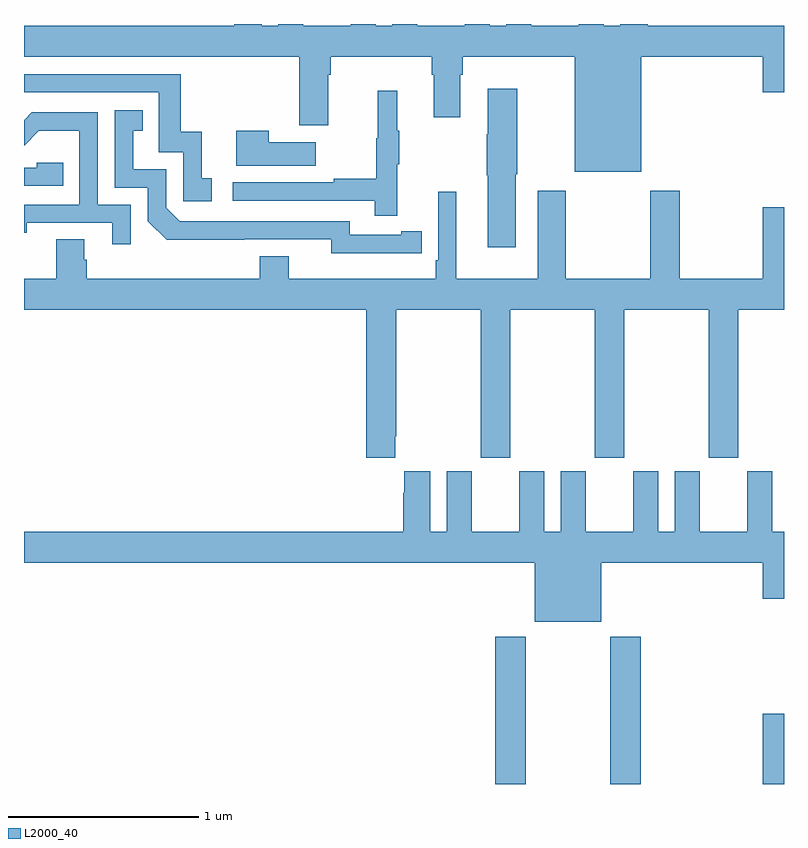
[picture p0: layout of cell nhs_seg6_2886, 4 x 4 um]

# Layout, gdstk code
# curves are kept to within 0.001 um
import gdstk
lib = gdstk.Library(unit=1e-6, precision=1e-09)
def R(c, l, rs):  # rectangles x0, y0, x1, y1
    for r in rs: c.add(gdstk.rectangle(r[:2], r[2:], *l))
def P(c, l, *ps):  # polygons
    for p in ps: c.add(gdstk.Polygon(p, *l))
L2000_40 = (2000, 40)

nhs_seg6_2886 = lib.new_cell('nhs_seg6_2886')
R(nhs_seg6_2886, L2000_40, [(283.481,951.5,283.641,952.276), (284.086,951.5,284.246,952.276), (284.888,951.5,285,951.871)])
P(nhs_seg6_2886, L2000_40, [(284.248,955.328),(284.888,955.328),(284.888,955.14),(285,955.14),(285,955.492),(284.282,955.492),(284.282,955.5),(284.138,955.5),(284.138,955.492),(284.05,955.492),(284.05,955.5),(283.919,955.5),(283.919,955.492),(283.669,955.492),(283.669,955.5),(283.538,955.5),(283.538,955.492),(283.45,955.492),(283.45,955.5),(283.319,955.5),(283.319,955.492),(283.069,955.492),(283.069,955.5),(282.938,955.5),(282.938,955.492),(282.85,955.492),(282.85,955.5),(282.719,955.5),(282.719,955.492),(282.469,955.492),(282.469,955.5),(282.338,955.5),(282.338,955.492),(282.25,955.492),(282.25,955.5),(282.107,955.5),(282.107,955.492),(281,955.492),(281,955.328),(282.449,955.328),(282.449,954.966),(282.601,954.966),(282.601,955.232),(282.614,955.232),(282.614,955.328),(283.145,955.328),(283.145,955.232),(283.157,955.232),(283.157,955.008),(283.297,955.008),(283.297,955.232),(283.31,955.232),(283.31,955.328),(283.898,955.328),(283.898,954.722),(284.248,954.722)],
  [(281.989,954.687),(281.936,954.687),(281.936,954.934),(281.825,954.934),(281.825,955.236),(281,955.236),(281,955.14),(281.709,955.14),(281.709,954.825),(281.838,954.825),(281.838,954.567),(281.989,954.567)],
  [(283.588,954.709),(283.596,954.709),(283.596,955.159),(283.442,955.159),(283.442,954.92),(283.435,954.92),(283.435,954.703),(283.442,954.703),(283.442,954.324),(283.588,954.324)],
  [(282.965,954.763),(282.976,954.763),(282.976,954.937),(282.965,954.937),(282.965,955.15),(282.862,955.15),(282.862,954.9),(282.855,954.9),(282.855,954.686),(282.631,954.686),(282.631,954.666),(282.099,954.666),(282.099,954.57),(282.847,954.57),(282.847,954.492),(282.965,954.492)],
  [(282.986,954.294),(283.094,954.294),(283.094,954.41),(282.986,954.41),(282.986,954.39),(282.714,954.39),(282.714,954.462),(281.82,954.462),(281.748,954.534),(281.748,954.735),(281.575,954.735),(281.575,954.939),(281.624,954.939),(281.624,955.045),(281.478,955.045),(281.478,954.639),(281.652,954.639),(281.652,954.462),(281.75,954.365),(282.618,954.366),(282.618,954.293)],
  [(281.562,954.549),(281.388,954.549),(281.388,955.035),(281.042,955.035),(281,954.993),(281,954.86),(281.078,954.938),(281.292,954.938),(281.292,954.549),(281,954.549),(281,954.402),(281.014,954.402),(281.014,954.453),(281.465,954.453),(281.465,954.342),(281.562,954.342)],
  [(282.535,954.877),(282.287,954.877),(282.287,954.937),(282.116,954.937),(282.116,954.755),(282.535,954.755)],
  [(281.207,954.771),(281.067,954.771),(281.067,954.744),(281,954.744),(281,954.648),(281.207,954.648)],
  [(282.955,953.329),(282.96,953.329),(282.96,953.996),(283.405,953.996),(283.405,953.217),(283.56,953.217),(283.56,953.996),(284.005,953.996),(284.005,953.217),(284.16,953.217),(284.16,953.996),(284.605,953.996),(284.605,953.217),(284.76,953.217),(284.76,953.996),(285,953.996),(285,954.535),(284.888,954.535),(284.888,954.16),(284.451,954.16),(284.451,954.622),(284.296,954.622),(284.296,954.16),(283.851,954.16),(283.851,954.622),(283.703,954.622),(283.703,954.16),(283.276,954.16),(283.276,954.616),(283.179,954.616),(283.179,954.256),(283.166,954.256),(283.166,954.16),(282.394,954.16),(282.394,954.277),(282.242,954.277),(282.242,954.16),(281.33,954.16),(281.33,954.258),(281.317,954.258),(281.317,954.368),(281.17,954.368),(281.17,954.16),(281,954.16),(281,953.996),(282.8,953.996),(282.8,953.217),(282.955,953.217)],
  [(284.038,952.664),(284.888,952.664),(284.888,952.476),(285,952.476),(285,952.828),(284.938,952.828),(284.938,953.146),(284.807,953.146),(284.807,952.828),(284.557,952.828),(284.557,953.146),(284.426,953.146),(284.426,952.828),(284.338,952.828),(284.338,953.146),(284.207,953.146),(284.207,952.828),(283.957,952.828),(283.957,953.146),(283.826,953.146),(283.826,952.828),(283.738,952.828),(283.738,953.146),(283.607,953.146),(283.607,952.828),(283.357,952.828),(283.357,953.146),(283.226,953.146),(283.226,952.828),(283.138,952.828),(283.138,953.146),(283.001,953.146),(283.001,953.033),(282.995,953.033),(282.995,952.828),(281,952.828),(281,952.664),(283.688,952.664),(283.688,952.355),(284.038,952.355)])

lib.write_gds('nhs_seg6_2886.gds')
